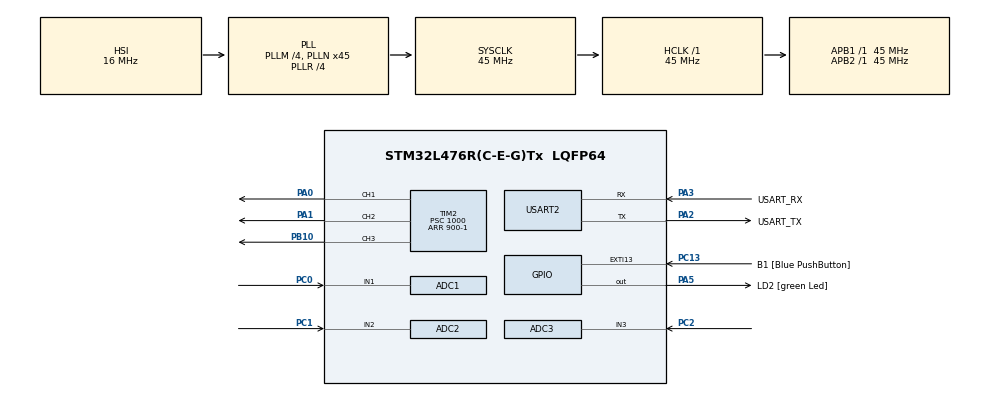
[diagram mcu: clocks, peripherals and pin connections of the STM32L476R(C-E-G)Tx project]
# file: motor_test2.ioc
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ADC1.Channel-0\#ChannelRegularConversion=ADC_CHANNEL_1
ADC1.ContinuousConvMode=DISABLE
ADC1.NbrOfConversionFlag=1
ADC1.OffsetNumber-0\#ChannelRegularConversion=ADC_OFFSET_NONE
ADC1.Rank-0\#ChannelRegularConversion=1
ADC1.SamplingTime-0\#ChannelRegularConversion=ADC_SAMPLETIME_12CYCLES_5
ADC1.master=1
ADC2.Channel-1\#ChannelRegularConversion=ADC_CHANNEL_2
ADC2.NbrOfConversionFlag=1
ADC2.OffsetNumber-1\#ChannelRegularConversion=ADC_OFFSET_NONE
ADC2.Rank-1\#ChannelRegularConversion=1
ADC2.SamplingTime-1\#ChannelRegularConversion=ADC_SAMPLETIME_2CYCLES_5
ADC3.Channel-0\#ChannelRegularConversion=ADC_CHANNEL_3
ADC3.NbrOfConversionFlag=1
ADC3.OffsetNumber-0\#ChannelRegularConversion=ADC_OFFSET_NONE
ADC3.Rank-0\#ChannelRegularConversion=1
ADC3.SamplingTime-0\#ChannelRegularConversion=ADC_SAMPLETIME_2CYCLES_5
Mcu.Family=STM32L4
Mcu.Name=STM32L476R(C-E-G)Tx
Mcu.Package=LQFP64
NVIC.ADC1_2_IRQn=true\:0\:0\:false\:false\:true\:true\:true\:true
NVIC.ADC3_IRQn=true\:0\:0\:false\:false\:true\:true\:true\:true
NVIC.PriorityGroup=NVIC_PRIORITYGROUP_4
NVIC.TIM2_IRQn=true\:0\:0\:false\:false\:true\:true\:true\:true
PA0.Signal=S_TIM2_CH1
PA1.Signal=S_TIM2_CH2
PA13\ (JTMS-SWDIO).GPIO_Label=TMS
PA13\ (JTMS-SWDIO).Mode=Serial_Wire
PA13\ (JTMS-SWDIO).Signal=SYS_JTMS-SWDIO
PA14\ (JTCK-SWCLK).GPIO_Label=TCK
PA14\ (JTCK-SWCLK).Mode=Serial_Wire
PA14\ (JTCK-SWCLK).Signal=SYS_JTCK-SWCLK
PA2.GPIO_Label=USART_TX
PA2.GPIO_Mode=GPIO_MODE_AF_PP
PA2.GPIO_PuPd=GPIO_NOPULL
PA2.GPIO_Speed=GPIO_SPEED_FREQ_VERY_HIGH
PA2.Mode=Asynchronous
PA2.Signal=USART2_TX
PA3.GPIO_Label=USART_RX
PA3.GPIO_Mode=GPIO_MODE_AF_PP
PA3.GPIO_PuPd=GPIO_NOPULL
PA3.GPIO_Speed=GPIO_SPEED_FREQ_VERY_HIGH
PA3.Mode=Asynchronous
PA3.Signal=USART2_RX
PA5.GPIO_Label=LD2 [green Led]
PA5.GPIO_ModeDefaultOutputPP=GPIO_MODE_OUTPUT_PP
PA5.GPIO_PuPd=GPIO_NOPULL
PA5.GPIO_Speed=GPIO_SPEED_FREQ_LOW
PA5.Signal=GPIO_Output
PB10.Signal=S_TIM2_CH3
PB3\ (JTDO-TRACESWO).GPIO_Label=SWO
PB3\ (JTDO-TRACESWO).Signal=SYS_JTDO-SWO
PC0.Signal=ADCx_IN1
PC1.Signal=ADCx_IN2
PC13.GPIO_Label=B1 [Blue PushButton]
PC13.GPIO_ModeDefaultEXTI=GPIO_MODE_IT_FALLING
PC13.GPIO_PuPd=GPIO_NOPULL
PC13.Signal=GPXTI13
PC14-OSC32_IN\ (PC14).Mode=LSE-External-Oscillator
PC14-OSC32_IN\ (PC14).Signal=RCC_OSC32_IN
PC15-OSC32_OUT\ (PC15).Mode=LSE-External-Oscillator
PC15-OSC32_OUT\ (PC15).Signal=RCC_OSC32_OUT
PC2.Signal=ADCx_IN3
PH0-OSC_IN\ (PH0).Signal=RCC_OSC_IN
PH1-OSC_OUT\ (PH1).Signal=RCC_OSC_OUT
ProjectManager.HeapSize=0x200
ProjectManager.StackSize=0x400
ProjectManager.TargetToolchain=STM32CubeIDE
RCC.ADCFreq_Value=32000000
RCC.AHBFreq_Value=45000000
RCC.APB1Freq_Value=45000000
RCC.APB1TimFreq_Value=45000000
RCC.APB2Freq_Value=45000000
RCC.APB2TimFreq_Value=45000000
RCC.CortexFreq_Value=45000000
RCC.HCLKFreq_Value=45000000
RCC.HSE_VALUE=8000000
RCC.HSI_VALUE=16000000
RCC.MSI_VALUE=4000000
RCC.PLLM=4
RCC.PLLN=45
RCC.PLLR=RCC_PLLR_DIV4
RCC.PLLSAI1N=16
RCC.PLLSourceVirtual=RCC_PLLSOURCE_HSI
RCC.PREFETCH_ENABLE=1
RCC.SYSCLKFreq_VALUE=45000000
RCC.SYSCLKSource=RCC_SYSCLKSOURCE_PLLCLK
RCC.USBFreq_Value=32000000
RCC.VCOOutputFreq_Value=180000000
SH.ADCx_IN1.0=ADC1_IN1,IN1-Single-Ended
SH.ADCx_IN2.0=ADC2_IN2,IN2-Single-Ended
SH.ADCx_IN3.0=ADC3_IN3,IN3-Single-Ended
SH.S_TIM2_CH1.0=TIM2_CH1,PWM Generation1 CH1
SH.S_TIM2_CH2.0=TIM2_CH2,PWM Generation2 CH2
SH.S_TIM2_CH3.0=TIM2_CH3,PWM Generation3 CH3
TIM2.AutoReloadPreload=TIM_AUTORELOAD_PRELOAD_ENABLE
TIM2.Channel-PWM\ Generation1\ CH1=TIM_CHANNEL_1
TIM2.Channel-PWM\ Generation2\ CH2=TIM_CHANNEL_2
TIM2.Channel-PWM\ Generation3\ CH3=TIM_CHANNEL_3
TIM2.Period=900-1
TIM2.Prescaler=1000
TIM2.Pulse-PWM\ Generation1\ CH1=25
USART2.VirtualMode-Asynchronous=VM_ASYNC
board=NUCLEO-L476RG

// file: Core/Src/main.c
/* USER CODE BEGIN Header */
/**
  ******************************************************************************
  * @file           : main.c
  * @brief          : Main program body
  ******************************************************************************
  * @attention
  *
  * Copyright (c) 2024 STMicroelectronics.
  * All rights reserved.
  *
  * This software is licensed under terms that can be found in the LICENSE file
  * in the root directory of this software component.
  * If no LICENSE file comes with this software, it is provided AS-IS.
  *
  ******************************************************************************
  */
/* USER CODE END Header */
#include "main.h"

/* USER CODE BEGIN Includes */
#include "stdlib.h"
/* USER CODE END Includes */

/* USER CODE BEGIN PD */
#define ADC_BUFFERlENGTH (50u)
/* USER CODE END PD */

ADC_HandleTypeDef hadc1;
ADC_HandleTypeDef hadc2;
ADC_HandleTypeDef hadc3;

TIM_HandleTypeDef htim2;

UART_HandleTypeDef huart2;

/* USER CODE BEGIN PV */
ADC_HandleTypeDef* hadc[3]={&hadc1, &hadc2, &hadc3};
/* USER CODE END PV */

void SystemClock_Config(void);
void PeriphCommonClock_Config(void);
static void MX_GPIO_Init(void);
static void MX_USART2_UART_Init(void);
static void MX_TIM2_Init(void);
static void MX_ADC1_Init(void);
static void MX_ADC2_Init(void);
static void MX_ADC3_Init(void);

/* USER CODE BEGIN 0 */

int compare(const void *a, const void *b) {
    uint32_t val1 = *(const uint32_t *)a;
    uint32_t val2 = *(const uint32_t *)b;
    if (val1 < val2) return -1;
    if (val1 > val2) return 1;
    return 0;
}

void rendezz(uint32_t** buffers, uint32_t* adc_norm_val)
{
	  uint32_t median[3]={0u};

	  for(int i=0; i<3; i++)
	  {
		  qsort(buffers[i], 50, sizeof(uint32_t), compare);
		  median[i]=buffers[i][24];

		  if (i == 2)
		  {
			  adc_norm_val[i] = 25u + (median[i] * 35)/4096;
		  }
		  else
		  {
			  adc_norm_val[i] = 65u + (median[i] * 60)/4096;
		  }
	  }
}

void merj(ADC_HandleTypeDef **hadc, uint32_t** buffers )
{
	for(int j=0; j<50; j++)
	{
		for(int i=0; i<3; i++)
		{
			HAL_ADC_Start(hadc[i]);
			HAL_ADC_PollForConversion(hadc[i], 20);
			buffers[i][j] = HAL_ADC_GetValue(hadc[i]);
		}
		 HAL_Delay(10);
	}
}

uint32_t buffer1[ADC_BUFFERlENGTH]={0};
uint32_t buffer2[ADC_BUFFERlENGTH]={0};
uint32_t buffer3[ADC_BUFFERlENGTH]={0};
/* USER CODE END 0 */

int main(void)
{

  /* MCU Configuration--------------------------------------------------------*/

  /* Reset of all peripherals, Initializes the Flash interface and the Systick. */
  HAL_Init();

  /* Configure the system clock */
  SystemClock_Config();

/* Configure the peripherals common clocks */
  PeriphCommonClock_Config();

  /* Initialize all configured peripherals */
  MX_GPIO_Init();
  MX_USART2_UART_Init();
  MX_TIM2_Init();
  MX_ADC1_Init();
  MX_ADC2_Init();
  MX_ADC3_Init();
  /* USER CODE BEGIN 2 */
  HAL_TIM_PWM_Start(&htim2, TIM_CHANNEL_1);
  HAL_TIM_PWM_Start(&htim2, TIM_CHANNEL_2);
  HAL_TIM_PWM_Start(&htim2, TIM_CHANNEL_3);
  /* USER CODE END 2 */

  /* Infinite loop */
  /* USER CODE BEGIN WHILE */

  uint32_t* buffers[3]={(uint32_t*)buffer1, (uint32_t*)buffer2, (uint32_t*)buffer3};
  uint32_t adc_norm_val[3] = {0u};

  while (1)
  {
	  merj(hadc, buffers);
	  rendezz(buffers, adc_norm_val);

	  if (adc_norm_val[0])
	  {
		  htim2.Instance->CCR1 = adc_norm_val[0];
	  }

	  if (adc_norm_val[1])
	  {
		  htim2.Instance->CCR2 = adc_norm_val[1];
	  }

	  if (adc_norm_val[2])
	  {
		  htim2.Instance->CCR3 = adc_norm_val[2];
	  }
    /* USER CODE END WHILE */

  }
}

void SystemClock_Config(void)
{
  RCC_OscInitTypeDef RCC_OscInitStruct = {0};
  RCC_ClkInitTypeDef RCC_ClkInitStruct = {0};

  /** Configure the main internal regulator output voltage
  */
  if (HAL_PWREx_ControlVoltageScaling(PWR_REGULATOR_VOLTAGE_SCALE1) != HAL_OK)
  {
    Error_Handler();
  }

  /** Initializes the RCC Oscillators according to the specified parameters
  * in the RCC_OscInitTypeDef structure.
  */
  RCC_OscInitStruct.OscillatorType = RCC_OSCILLATORTYPE_HSI;
  RCC_OscInitStruct.HSIState = RCC_HSI_ON;
  RCC_OscInitStruct.HSICalibrationValue = RCC_HSICALIBRATION_DEFAULT;
  RCC_OscInitStruct.PLL.PLLState = RCC_PLL_ON;
  RCC_OscInitStruct.PLL.PLLSource = RCC_PLLSOURCE_HSI;
  RCC_OscInitStruct.PLL.PLLM = 4;
  RCC_OscInitStruct.PLL.PLLN = 45;
  RCC_OscInitStruct.PLL.PLLP = RCC_PLLP_DIV7;
  RCC_OscInitStruct.PLL.PLLQ = RCC_PLLQ_DIV2;
  RCC_OscInitStruct.PLL.PLLR = RCC_PLLR_DIV4;
  if (HAL_RCC_OscConfig(&RCC_OscInitStruct) != HAL_OK)
  {
    Error_Handler();
  }

  /** Initializes the CPU, AHB and APB buses clocks
  */
  RCC_ClkInitStruct.ClockType = RCC_CLOCKTYPE_HCLK|RCC_CLOCKTYPE_SYSCLK
                              |RCC_CLOCKTYPE_PCLK1|RCC_CLOCKTYPE_PCLK2;
  RCC_ClkInitStruct.SYSCLKSource = RCC_SYSCLKSOURCE_PLLCLK;
  RCC_ClkInitStruct.AHBCLKDivider = RCC_SYSCLK_DIV1;
  RCC_ClkInitStruct.APB1CLKDivider = RCC_HCLK_DIV1;
  RCC_ClkInitStruct.APB2CLKDivider = RCC_HCLK_DIV1;

  if (HAL_RCC_ClockConfig(&RCC_ClkInitStruct, FLASH_LATENCY_2) != HAL_OK)
  {
    Error_Handler();
  }
}

void PeriphCommonClock_Config(void)
{
  RCC_PeriphCLKInitTypeDef PeriphClkInit = {0};

  /** Initializes the peripherals clock
  */
  PeriphClkInit.PeriphClockSelection = RCC_PERIPHCLK_ADC;
  PeriphClkInit.AdcClockSelection = RCC_ADCCLKSOURCE_PLLSAI1;
  PeriphClkInit.PLLSAI1.PLLSAI1Source = RCC_PLLSOURCE_HSI;
  PeriphClkInit.PLLSAI1.PLLSAI1M = 4;
  PeriphClkInit.PLLSAI1.PLLSAI1N = 16;
  PeriphClkInit.PLLSAI1.PLLSAI1P = RCC_PLLP_DIV7;
  PeriphClkInit.PLLSAI1.PLLSAI1Q = RCC_PLLQ_DIV2;
  PeriphClkInit.PLLSAI1.PLLSAI1R = RCC_PLLR_DIV2;
  PeriphClkInit.PLLSAI1.PLLSAI1ClockOut = RCC_PLLSAI1_ADC1CLK;
  if (HAL_RCCEx_PeriphCLKConfig(&PeriphClkInit) != HAL_OK)
  {
    Error_Handler();
  }
}

static void MX_ADC1_Init(void)
{

  ADC_MultiModeTypeDef multimode = {0};
  ADC_ChannelConfTypeDef sConfig = {0};

  /** Common config
  */
  hadc1.Instance = ADC1;
  hadc1.Init.ClockPrescaler = ADC_CLOCK_ASYNC_DIV1;
  hadc1.Init.Resolution = ADC_RESOLUTION_12B;
  hadc1.Init.DataAlign = ADC_DATAALIGN_RIGHT;
  hadc1.Init.ScanConvMode = ADC_SCAN_DISABLE;
  hadc1.Init.EOCSelection = ADC_EOC_SINGLE_CONV;
  hadc1.Init.LowPowerAutoWait = DISABLE;
  hadc1.Init.ContinuousConvMode = DISABLE;
  hadc1.Init.NbrOfConversion = 1;
  hadc1.Init.DiscontinuousConvMode = DISABLE;
  hadc1.Init.ExternalTrigConv = ADC_SOFTWARE_START;
  hadc1.Init.ExternalTrigConvEdge = ADC_EXTERNALTRIGCONVEDGE_NONE;
  hadc1.Init.DMAContinuousRequests = DISABLE;
  hadc1.Init.Overrun = ADC_OVR_DATA_PRESERVED;
  hadc1.Init.OversamplingMode = DISABLE;
  if (HAL_ADC_Init(&hadc1) != HAL_OK)
  {
    Error_Handler();
  }

  /** Configure the ADC multi-mode
  */
  multimode.Mode = ADC_MODE_INDEPENDENT;
  if (HAL_ADCEx_MultiModeConfigChannel(&hadc1, &multimode) != HAL_OK)
  {
    Error_Handler();
  }

  /** Configure Regular Channel
  */
  sConfig.Channel = ADC_CHANNEL_1;
  sConfig.Rank = ADC_REGULAR_RANK_1;
  sConfig.SamplingTime = ADC_SAMPLETIME_12CYCLES_5;
  sConfig.SingleDiff = ADC_SINGLE_ENDED;
  sConfig.OffsetNumber = ADC_OFFSET_NONE;
  sConfig.Offset = 0;
  if (HAL_ADC_ConfigChannel(&hadc1, &sConfig) != HAL_OK)
  {
    Error_Handler();
  }

}

static void MX_ADC2_Init(void)
{

  ADC_ChannelConfTypeDef sConfig = {0};

  /** Common config
  */
  hadc2.Instance = ADC2;
  hadc2.Init.ClockPrescaler = ADC_CLOCK_ASYNC_DIV1;
  hadc2.Init.Resolution = ADC_RESOLUTION_12B;
  hadc2.Init.DataAlign = ADC_DATAALIGN_RIGHT;
  hadc2.Init.ScanConvMode = ADC_SCAN_DISABLE;
  hadc2.Init.EOCSelection = ADC_EOC_SINGLE_CONV;
  hadc2.Init.LowPowerAutoWait = DISABLE;
  hadc2.Init.ContinuousConvMode = DISABLE;
  hadc2.Init.NbrOfConversion = 1;
  hadc2.Init.DiscontinuousConvMode = DISABLE;
  hadc2.Init.ExternalTrigConv = ADC_SOFTWARE_START;
  hadc2.Init.ExternalTrigConvEdge = ADC_EXTERNALTRIGCONVEDGE_NONE;
  hadc2.Init.DMAContinuousRequests = DISABLE;
  hadc2.Init.Overrun = ADC_OVR_DATA_PRESERVED;
  hadc2.Init.OversamplingMode = DISABLE;
  if (HAL_ADC_Init(&hadc2) != HAL_OK)
  {
    Error_Handler();
  }

  /** Configure Regular Channel
  */
  sConfig.Channel = ADC_CHANNEL_2;
  sConfig.Rank = ADC_REGULAR_RANK_1;
  sConfig.SamplingTime = ADC_SAMPLETIME_2CYCLES_5;
  sConfig.SingleDiff = ADC_SINGLE_ENDED;
  sConfig.OffsetNumber = ADC_OFFSET_NONE;
  sConfig.Offset = 0;
  if (HAL_ADC_ConfigChannel(&hadc2, &sConfig) != HAL_OK)
  {
    Error_Handler();
  }

}

static void MX_ADC3_Init(void)
{

  ADC_ChannelConfTypeDef sConfig = {0};

  /** Common config
  */
  hadc3.Instance = ADC3;
  hadc3.Init.ClockPrescaler = ADC_CLOCK_ASYNC_DIV1;
  hadc3.Init.Resolution = ADC_RESOLUTION_12B;
  hadc3.Init.DataAlign = ADC_DATAALIGN_RIGHT;
  hadc3.Init.ScanConvMode = ADC_SCAN_DISABLE;
  hadc3.Init.EOCSelection = ADC_EOC_SINGLE_CONV;
  hadc3.Init.LowPowerAutoWait = DISABLE;
  hadc3.Init.ContinuousConvMode = DISABLE;
  hadc3.Init.NbrOfConversion = 1;
  hadc3.Init.DiscontinuousConvMode = DISABLE;
  hadc3.Init.ExternalTrigConv = ADC_SOFTWARE_START;
  hadc3.Init.ExternalTrigConvEdge = ADC_EXTERNALTRIGCONVEDGE_NONE;
  hadc3.Init.DMAContinuousRequests = DISABLE;
  hadc3.Init.Overrun = ADC_OVR_DATA_PRESERVED;
  hadc3.Init.OversamplingMode = DISABLE;
  if (HAL_ADC_Init(&hadc3) != HAL_OK)
  {
    Error_Handler();
  }

  /** Configure Regular Channel
  */
  sConfig.Channel = ADC_CHANNEL_3;
  sConfig.Rank = ADC_REGULAR_RANK_1;
  sConfig.SamplingTime = ADC_SAMPLETIME_2CYCLES_5;
  sConfig.SingleDiff = ADC_SINGLE_ENDED;
  sConfig.OffsetNumber = ADC_OFFSET_NONE;
  sConfig.Offset = 0;
  if (HAL_ADC_ConfigChannel(&hadc3, &sConfig) != HAL_OK)
  {
    Error_Handler();
  }

}

static void MX_TIM2_Init(void)
{

  TIM_MasterConfigTypeDef sMasterConfig = {0};
  TIM_OC_InitTypeDef sConfigOC = {0};

  htim2.Instance = TIM2;
  htim2.Init.Prescaler = 1000;
  htim2.Init.CounterMode = TIM_COUNTERMODE_UP;
  htim2.Init.Period = 900-1;
  htim2.Init.ClockDivision = TIM_CLOCKDIVISION_DIV1;
  htim2.Init.AutoReloadPreload = TIM_AUTORELOAD_PRELOAD_ENABLE;
  if (HAL_TIM_PWM_Init(&htim2) != HAL_OK)
  {
    Error_Handler();
  }
  sMasterConfig.MasterOutputTrigger = TIM_TRGO_RESET;
  sMasterConfig.MasterSlaveMode = TIM_MASTERSLAVEMODE_DISABLE;
  if (HAL_TIMEx_MasterConfigSynchronization(&htim2, &sMasterConfig) != HAL_OK)
  {
    Error_Handler();
  }
  sConfigOC.OCMode = TIM_OCMODE_PWM1;
  sConfigOC.Pulse = 25;
  sConfigOC.OCPolarity = TIM_OCPOLARITY_HIGH;
  sConfigOC.OCFastMode = TIM_OCFAST_DISABLE;
  if (HAL_TIM_PWM_ConfigChannel(&htim2, &sConfigOC, TIM_CHANNEL_1) != HAL_OK)
  {
    Error_Handler();
  }
  sConfigOC.Pulse = 0;
  if (HAL_TIM_PWM_ConfigChannel(&htim2, &sConfigOC, TIM_CHANNEL_2) != HAL_OK)
  {
    Error_Handler();
  }
  if (HAL_TIM_PWM_ConfigChannel(&htim2, &sConfigOC, TIM_CHANNEL_3) != HAL_OK)
  {
    Error_Handler();
  }
  HAL_TIM_MspPostInit(&htim2);

}

static void MX_USART2_UART_Init(void)
{

  huart2.Instance = USART2;
  huart2.Init.BaudRate = 115200;
  huart2.Init.WordLength = UART_WORDLENGTH_8B;
  huart2.Init.StopBits = UART_STOPBITS_1;
  huart2.Init.Parity = UART_PARITY_NONE;
  huart2.Init.Mode = UART_MODE_TX_RX;
  huart2.Init.HwFlowCtl = UART_HWCONTROL_NONE;
  huart2.Init.OverSampling = UART_OVERSAMPLING_16;
  huart2.Init.OneBitSampling = UART_ONE_BIT_SAMPLE_DISABLE;
  huart2.AdvancedInit.AdvFeatureInit = UART_ADVFEATURE_NO_INIT;
  if (HAL_UART_Init(&huart2) != HAL_OK)
  {
    Error_Handler();
  }

}

static void MX_GPIO_Init(void)
{
  GPIO_InitTypeDef GPIO_InitStruct = {0};

  /* GPIO Ports Clock Enable */
  __HAL_RCC_GPIOC_CLK_ENABLE();
  __HAL_RCC_GPIOH_CLK_ENABLE();
  __HAL_RCC_GPIOA_CLK_ENABLE();
  __HAL_RCC_GPIOB_CLK_ENABLE();

  /*Configure GPIO pin Output Level */
  HAL_GPIO_WritePin(LD2_GPIO_Port, LD2_Pin, GPIO_PIN_RESET);

  /*Configure GPIO pin : B1_Pin */
  GPIO_InitStruct.Pin = B1_Pin;
  GPIO_InitStruct.Mode = GPIO_MODE_IT_FALLING;
  GPIO_InitStruct.Pull = GPIO_NOPULL;
  HAL_GPIO_Init(B1_GPIO_Port, &GPIO_InitStruct);

  /*Configure GPIO pin : LD2_Pin */
  GPIO_InitStruct.Pin = LD2_Pin;
  GPIO_InitStruct.Mode = GPIO_MODE_OUTPUT_PP;
  GPIO_InitStruct.Pull = GPIO_NOPULL;
  GPIO_InitStruct.Speed = GPIO_SPEED_FREQ_LOW;
  HAL_GPIO_Init(LD2_GPIO_Port, &GPIO_InitStruct);

}

void Error_Handler(void)
{
  __disable_irq();
  while (1)
  {
  }
}
